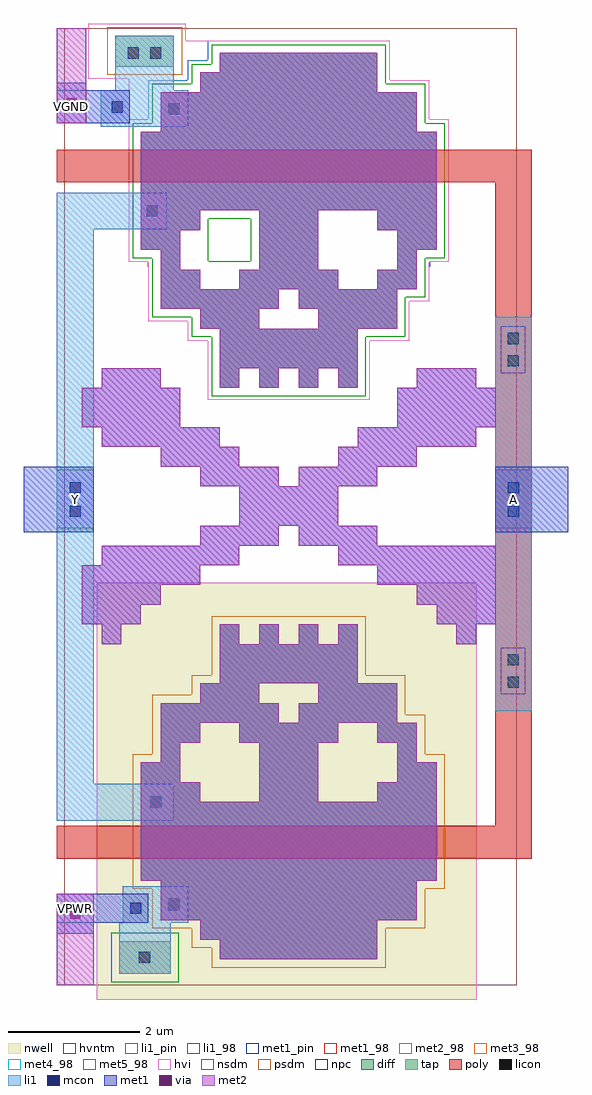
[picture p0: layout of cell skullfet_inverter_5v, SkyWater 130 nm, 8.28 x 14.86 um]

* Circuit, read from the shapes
.subckt skullfet_inverter_5v A VGND VPWR Y
XM1 VGND A Y VGND sky130_fd_pr__nfet_g5v0d10v5 w=4.5 l=0.5
XM2 Y A VPWR VPWR sky130_fd_pr__pfet_g5v0d10v5 w=4.5 l=0.5
.ends

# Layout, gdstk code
import gdstk
lib = gdstk.Library(unit=1e-6, precision=1e-09)
def R(c, l, rs):  # rectangles x0, y0, x1, y1
    for r in rs: c.add(gdstk.rectangle(r[:2], r[2:], *l))
def A(c, l, x, y, w, h, nx, ny, dx, dy):  # array of equal rectangles
    R(c, l, [(x+i*dx, y+j*dy, x+i*dx+w, y+j*dy+h) for i in range(nx) for j in range(ny)])
nwell = (64, 20)
diff = (65, 20)
tap = (65, 44)
poly = (66, 20)
licon = (66, 44)
li1_pin = (67, 16)
li1 = (67, 20)
mcon = (67, 44)
li1_98 = (67, 98)
met1_pin = (68, 16)
met1 = (68, 20)
via = (68, 44)
met1_98 = (68, 98)
met2 = (69, 20)
met2_98 = (69, 98)
met3_98 = (70, 98)
met4_98 = (71, 98)
met5_98 = (72, 98)
hvi = (75, 20)
nsdm = (93, 44)
psdm = (94, 20)
npc = (95, 20)
hvntm = (125, 20)

skullfet_inverter_5v = lib.new_cell('skullfet_inverter_5v')
R(skullfet_inverter_5v, nwell, [(3.38,0.66,9.16,7)])
A(skullfet_inverter_5v, diff, 5.25, 6.07, 0.3, 0.3, 4, 2, 0.6, 3.9)
R(skullfet_inverter_5v, diff, [(5.25,1.27,7.65,1.57), (4.95,1.57,7.65,1.87), (4.35,1.87,8.25,2.47), (4.05,2.47,8.55,3.67), (4.05,3.67,4.95,3.97), (5.85,3.67,6.75,4.57), (7.65,3.67,8.55,3.97), (4.05,3.97,4.65,4.27), (7.95,3.97,8.55,4.27), (4.35,4.27,4.65,4.57), (7.95,4.27,8.25,4.57), (4.35,4.57,4.95,4.87), (5.55,4.57,7.05,4.87), (7.65,4.57,8.25,4.87), (4.35,4.87,6.15,5.17), (6.45,4.87,7.95,5.17), (4.95,5.17,5.85,5.47), (6.75,5.17,7.95,5.47), (5.25,5.47,7.35,6.07), (5.25,10.27,7.35,10.87), (4.95,10.87,5.85,11.17), (6.75,10.87,7.95,11.17), (4.35,11.17,6.15,11.47), (6.45,11.17,7.95,11.47), (4.35,11.47,4.95,11.77), (5.55,11.47,7.05,11.77), (7.65,11.47,8.25,11.77), (4.35,11.77,4.65,12.07), (5.85,11.77,6.75,12.67), (7.95,11.77,8.25,12.07), (4.05,12.07,4.65,12.37), (7.95,12.07,8.55,12.37), (4.05,12.37,4.95,12.67), (7.65,12.37,8.55,12.67), (4.05,12.67,8.55,13.87), (4.35,13.87,8.25,14.47), (4.95,14.47,7.65,14.77), (5.25,14.77,7.65,15.07)])
R(skullfet_inverter_5v, tap, [(3.72,1.05,4.5,1.55), (3.66,14.86,4.55,15.33)])
R(skullfet_inverter_5v, poly, [(2.77,2.805,10,3.305), (9.44,3.305,10,13.095), (2.77,13.095,10,13.595)])
R(skullfet_inverter_5v, licon, [(4.02,1.22,4.19,1.39), (4.465,2.02,4.635,2.19), (4.19,3.58,4.36,3.75), (9.63,5.405,9.8,5.575), (9.63,5.745,9.8,5.915), (9.63,10.295,9.8,10.465), (9.63,10.635,9.8,10.805), (4.135,12.58,4.305,12.75), (4.465,14.13,4.635,14.3), (3.85,14.98,4.02,15.15), (4.19,14.98,4.36,15.15)])
R(skullfet_inverter_5v, li1_pin, [(2.77,7.83,3.33,8.72), (9.44,7.83,10,8.72)])
R(skullfet_inverter_5v, li1, [(3.72,1.05,4.5,1.83), (3.77,1.83,4.77,2.38), (2.77,3.38,4.55,3.94), (2.77,3.94,3.33,12.38), (9.44,5.05,10,11.05), (2.77,12.38,4.44,12.94), (3.44,13.94,4.77,14.5), (3.66,14.5,4.55,15.33)])
R(skullfet_inverter_5v, mcon, [(3.885,1.965,4.055,2.135), (2.965,8.005,3.135,8.175), (9.635,8.005,9.805,8.175), (2.965,8.365,3.135,8.535), (9.635,8.365,9.805,8.535), (3.605,14.16,3.775,14.33)])
R(skullfet_inverter_5v, li1_98, [(2.88,0.88,9.77,15.44)])
R(skullfet_inverter_5v, met1_pin, [(2.77,1.83,3.33,2.27), (2.77,14,3.22,14.5)])
A(skullfet_inverter_5v, met1, 5.25, 6.07, 0.3, 0.3, 4, 2, 0.6, 3.9)
R(skullfet_inverter_5v, met1, [(5.25,1.27,7.65,1.57), (4.95,1.57,7.65,1.87), (2.77,1.66,3.33,1.83), (2.77,1.83,4.16,2.27), (4.35,1.87,8.25,2.47), (4.05,2.47,8.55,3.67), (4.05,3.67,4.95,3.97), (5.85,3.67,6.75,4.57), (7.65,3.67,8.55,3.97), (4.05,3.97,4.65,4.27), (7.95,3.97,8.55,4.27), (4.35,4.27,4.65,4.57), (7.95,4.27,8.25,4.57), (4.35,4.57,4.95,4.87), (5.55,4.57,7.05,4.87), (7.65,4.57,8.25,4.87), (4.35,4.87,6.15,5.17), (6.45,4.87,7.95,5.17), (4.95,5.17,5.85,5.47), (6.75,5.17,7.95,5.47), (5.25,5.47,7.35,6.07), (3.45,6.07,3.75,6.37), (8.85,6.07,9.15,6.37), (3.15,6.37,4.05,6.67), (8.55,6.37,9.45,6.67), (3.15,6.67,4.35,6.97), (8.25,6.67,9.45,6.97), (3.15,6.97,4.95,7.27), (7.65,6.97,9.45,7.27), (3.45,7.27,5.55,7.57), (7.05,7.27,9.45,7.57), (4.95,7.57,6.15,7.87), (6.45,7.57,7.65,7.87), (2.27,7.77,3.33,8.77), (9.44,7.77,10.55,8.77), (5.55,7.87,7.05,8.47), (4.95,8.47,6.15,8.77), (6.45,8.47,7.65,8.77), (4.35,8.77,5.55,9.07), (7.05,8.77,8.25,9.07), (3.45,9.07,5.25,9.37), (7.35,9.07,9.15,9.37), (3.15,9.37,4.65,9.97), (7.95,9.37,9.45,9.97), (3.45,9.97,4.35,10.27), (8.25,9.97,9.15,10.27), (5.25,10.27,7.35,10.87), (4.95,10.87,5.85,11.17), (6.75,10.87,7.95,11.17), (4.35,11.17,6.15,11.47), (6.45,11.17,7.95,11.47), (4.35,11.47,4.95,11.77), (5.55,11.47,7.05,11.77), (7.65,11.47,8.25,11.77), (4.35,11.77,4.65,12.07), (5.85,11.77,6.75,12.67), (7.95,11.77,8.25,12.07), (4.05,12.07,4.65,12.37), (7.95,12.07,8.55,12.37), (4.05,12.37,4.95,12.67), (7.65,12.37,8.55,12.67), (4.05,12.67,8.55,13.87), (4.35,13.87,8.25,14.47), (2.77,14,3.88,14.5), (4.95,14.47,7.65,14.77), (2.77,14.5,3.22,14.61), (5.25,14.77,7.65,15.07)])
R(skullfet_inverter_5v, via, [(2.975,1.89,3.125,2.04), (2.92,14.23,3.07,14.38)])
R(skullfet_inverter_5v, met1_98, [(2.88,0.88,9.77,15.44)])
A(skullfet_inverter_5v, met2, 5.25, 6.07, 0.3, 0.3, 4, 2, 0.6, 3.9)
R(skullfet_inverter_5v, met2, [(2.77,0.88,3.33,2.27), (5.25,1.27,7.65,1.57), (4.95,1.57,7.65,1.87), (4.35,1.87,8.25,2.47), (4.05,2.47,8.55,3.67), (4.05,3.67,4.95,3.97), (5.85,3.67,6.75,4.57), (7.65,3.67,8.55,3.97), (4.05,3.97,4.65,4.27), (7.95,3.97,8.55,4.27), (4.35,4.27,4.65,4.57), (7.95,4.27,8.25,4.57), (4.35,4.57,4.95,4.87), (5.55,4.57,7.05,4.87), (7.65,4.57,8.25,4.87), (4.35,4.87,6.15,5.17), (6.45,4.87,7.95,5.17), (4.95,5.17,5.85,5.47), (6.75,5.17,7.95,5.47), (5.25,5.47,7.35,6.07), (3.45,6.07,3.75,6.37), (8.85,6.07,9.15,6.37), (3.15,6.37,4.05,6.67), (8.55,6.37,9.45,6.67), (3.15,6.67,4.35,6.97), (8.25,6.67,9.45,6.97), (3.15,6.97,4.95,7.27), (7.65,6.97,9.45,7.27), (3.45,7.27,5.55,7.57), (7.05,7.27,9.45,7.57), (4.95,7.57,6.15,7.87), (6.45,7.57,7.65,7.87), (5.55,7.87,7.05,8.47), (4.95,8.47,6.15,8.77), (6.45,8.47,7.65,8.77), (4.35,8.77,5.55,9.07), (7.05,8.77,8.25,9.07), (3.45,9.07,5.25,9.37), (7.35,9.07,9.15,9.37), (3.15,9.37,4.65,9.97), (7.95,9.37,9.45,9.97), (3.45,9.97,4.35,10.27), (8.25,9.97,9.15,10.27), (5.25,10.27,7.35,10.87), (4.95,10.87,5.85,11.17), (6.75,10.87,7.95,11.17), (4.35,11.17,6.15,11.47), (6.45,11.17,7.95,11.47), (4.35,11.47,4.95,11.77), (5.55,11.47,7.05,11.77), (7.65,11.47,8.25,11.77), (4.35,11.77,4.65,12.07), (5.85,11.77,6.75,12.67), (7.95,11.77,8.25,12.07), (4.05,12.07,4.65,12.37), (7.95,12.07,8.55,12.37), (4.05,12.37,4.95,12.67), (7.65,12.37,8.55,12.67), (4.05,12.67,8.55,13.87), (4.35,13.87,8.25,14.47), (2.77,14,3.22,15.44), (4.95,14.47,7.65,14.77), (5.25,14.77,7.65,15.07)])
R(skullfet_inverter_5v, met2_98, [(2.88,0.88,9.77,15.44)])
R(skullfet_inverter_5v, met3_98, [(2.88,0.88,9.77,15.44)])
R(skullfet_inverter_5v, met4_98, [(2.88,0.88,9.77,15.44)])
R(skullfet_inverter_5v, met5_98, [(2.88,0.88,9.77,15.44)])
R(skullfet_inverter_5v, hvi, [(3.38,0.66,9.16,7), (5.065,9.785,7.535,10.685), (4.765,10.685,8.135,10.985), (4.165,10.985,8.135,11.285), (4.165,11.285,8.435,11.885), (3.865,11.885,8.735,14.055), (3.865,14.055,8.435,14.655), (3.865,14.655,7.835,14.675), (3.25,14.675,7.835,15.255), (3.25,15.255,4.735,15.515)])
R(skullfet_inverter_5v, nsdm, [(3.595,0.925,4.625,1.675), (5.125,9.845,7.475,10.745), (4.825,10.745,8.075,11.045), (4.225,11.045,8.075,11.345), (4.225,11.345,8.375,11.895), (4.225,11.895,5.075,11.945), (5.725,11.895,8.375,11.945), (3.925,11.945,5.075,12.545), (5.725,11.945,8.675,12.545), (3.925,12.545,8.675,13.995), (4.225,13.995,8.375,14.595), (4.825,14.595,7.775,14.895), (5.125,14.895,7.775,15.195)])
R(skullfet_inverter_5v, psdm, [(5.125,1.145,7.775,1.445), (4.825,1.445,7.775,1.745), (4.225,1.745,8.375,2.345), (3.925,2.345,8.675,4.395), (4.225,4.395,8.375,4.995), (4.225,4.995,8.075,5.295), (4.825,5.295,8.075,5.595), (5.125,5.595,7.475,6.495), (3.535,14.735,4.675,15.455)])
R(skullfet_inverter_5v, npc, [(9.53,5.305,9.9,6.015), (9.53,10.195,9.9,10.905)])
R(skullfet_inverter_5v, hvntm, [(5.065,9.785,7.535,10.685), (4.765,10.685,8.135,10.985), (4.165,10.985,8.135,11.285), (4.165,11.285,8.435,11.81), (4.15,11.81,8.45,11.885), (3.865,11.885,8.735,14.055), (4.165,14.055,8.435,14.655), (4.765,14.655,7.835,14.955), (5.065,14.955,7.835,15.255)])
skullfet_inverter_5v.add(gdstk.Label('VGND', (2.995,14.25), layer=68, texttype=5))
skullfet_inverter_5v.add(gdstk.Label('VPWR', (3.05,2.05), layer=68, texttype=5))
skullfet_inverter_5v.add(gdstk.Label('Y', (3.05,8.275), layer=67, texttype=5))
skullfet_inverter_5v.add(gdstk.Label('A', (9.72,8.275), layer=67, texttype=5))

lib.write_gds('skullfet_inverter_5v.gds')
